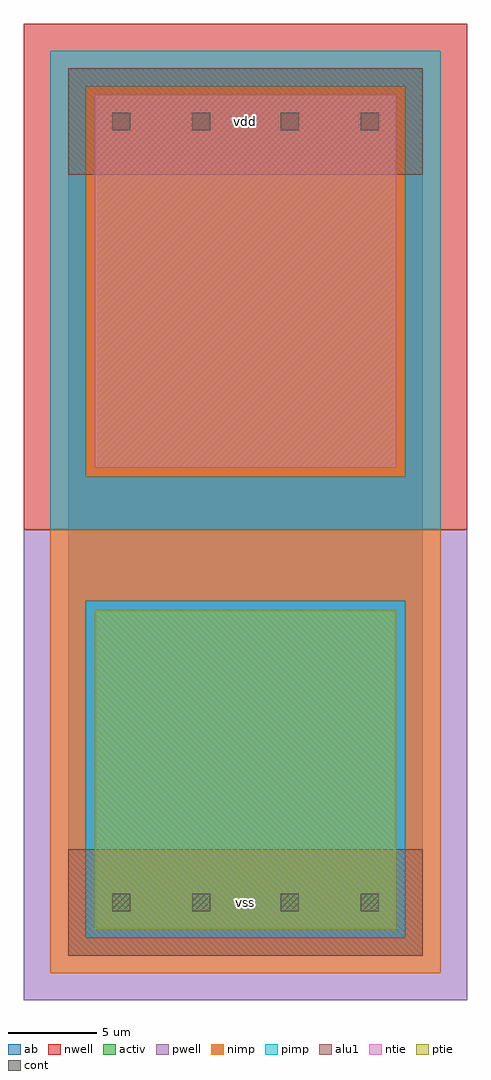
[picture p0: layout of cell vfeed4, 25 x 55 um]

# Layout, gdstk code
import gdstk
lib = gdstk.Library(unit=1e-6, precision=1e-09)
def R(c, l, rs):  # rectangles x0, y0, x1, y1
    for r in rs: c.add(gdstk.rectangle(r[:2], r[2:], *l))
ntie = (5, 0)
ptie = (6, 0)
cont = (25, 0)
pwell = (41, 0)
nwell = (42, 0)
activ = (43, 0)
pimp = (44, 0)
nimp = (45, 0)
alu1 = (49, 0)
ab = (63, 0)

vfeed4 = lib.new_cell('vfeed4')
R(vfeed4, ntie, [(1.5,27.5,18.5,48.5)])
R(vfeed4, ptie, [(1.5,1.5,18.5,19.5)])
R(vfeed4, cont, [(2.5,2.5,3.5,3.5), (7,2.5,8,3.5), (12,2.5,13,3.5), (16.5,2.5,17.5,3.5), (2.5,46.5,3.5,47.5), (7,46.5,8,47.5), (12,46.5,13,47.5), (16.5,46.5,17.5,47.5)])
R(vfeed4, pwell, [(-2.5,-2.5,22.5,24)])
R(vfeed4, nwell, [(-2.5,24,22.5,52.5)])
R(vfeed4, activ, [(1.5,1.5,18.5,19.5), (1.5,27.5,18.5,48.5)])
R(vfeed4, pimp, [(1,1,19,20), (-1,24,21,27), (-1,27,1,49), (19,27,21,49), (-1,49,21,51)])
R(vfeed4, nimp, [(-1,-1,21,1), (-1,1,1,20), (19,1,21,20), (-1,20,21,24), (1,27,19,49)])
R(vfeed4, alu1, [(0,0,20,6), (0,0,20,6), (0,44,20,50), (0,44,20,50)])
R(vfeed4, ab, [(0,0,20,50)])
vfeed4.add(gdstk.Label('vss', (10,3), layer=49, texttype=0))
vfeed4.add(gdstk.Label('vdd', (10,47), layer=49, texttype=0))

lib.write_gds('vfeed4.gds')
